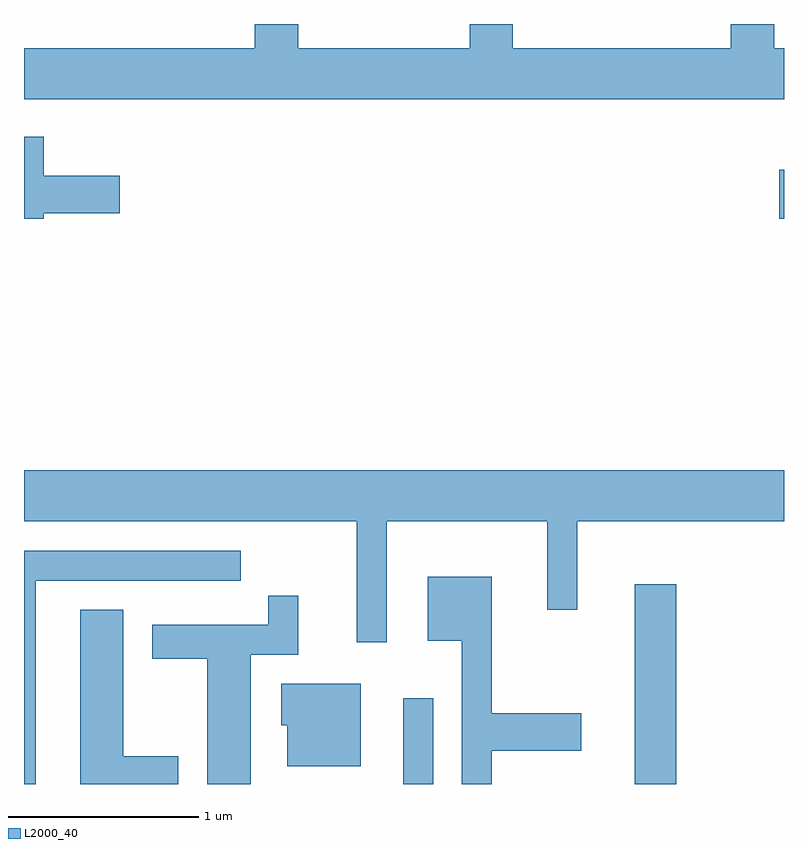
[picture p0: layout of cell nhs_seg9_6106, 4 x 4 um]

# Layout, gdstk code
import gdstk
lib = gdstk.Library(unit=1e-6, precision=1e-09)
def R(c, l, rs):  # rectangles x0, y0, x1, y1
    for r in rs: c.add(gdstk.rectangle(r[:2], r[2:], *l))
def P(c, l, *ps):  # polygons
    for p in ps: c.add(gdstk.Polygon(p, *l))
L2000_40 = (2000, 40)

nhs_seg9_6106 = lib.new_cell('nhs_seg9_6106')
R(nhs_seg9_6106, L2000_40, [(367.606,1990.432,367.764,1990.883), (368.826,1990.432,369.044,1991.484), (369.586,1993.406,369.611,1993.664)])
P(nhs_seg9_6106, L2000_40, [(369.611,1994.304),(369.559,1994.304),(369.559,1994.432),(369.331,1994.432),(369.331,1994.304),(368.184,1994.304),(368.184,1994.432),(367.956,1994.432),(367.956,1994.304),(367.054,1994.304),(367.054,1994.432),(366.826,1994.432),(366.826,1994.304),(365.611,1994.304),(365.611,1994.036),(369.611,1994.036)],
  [(365.714,1993.436),(366.114,1993.436),(366.114,1993.634),(365.714,1993.634),(365.714,1993.839),(365.611,1993.839),(365.611,1993.406),(365.714,1993.406)],
  [(367.519,1991.816),(368.366,1991.816),(368.366,1991.348),(368.524,1991.348),(368.524,1991.816),(369.611,1991.816),(369.611,1992.084),(365.611,1992.084),(365.611,1991.816),(367.361,1991.816),(367.361,1991.178),(367.519,1991.178)],
  [(365.674,1991.501),(366.753,1991.501),(366.753,1991.659),(365.611,1991.659),(365.611,1990.432),(365.674,1990.432)],
  [(368.074,1990.606),(368.544,1990.606),(368.544,1990.804),(368.074,1990.804),(368.074,1991.524),(367.736,1991.524),(367.736,1991.186),(367.916,1991.186),(367.916,1990.432),(368.074,1990.432)],
  [(366.804,1991.111),(367.054,1991.111),(367.054,1991.423),(366.896,1991.423),(366.896,1991.269),(366.286,1991.269),(366.286,1991.091),(366.576,1991.091),(366.576,1990.432),(366.804,1990.432)],
  [(366.424,1990.579),(366.134,1990.579),(366.134,1991.349),(365.906,1991.349),(365.906,1990.432),(366.424,1990.432)],
  [(367.384,1990.959),(366.966,1990.959),(366.966,1990.741),(366.996,1990.741),(366.996,1990.526),(367.384,1990.526)])

lib.write_gds('nhs_seg9_6106.gds')
